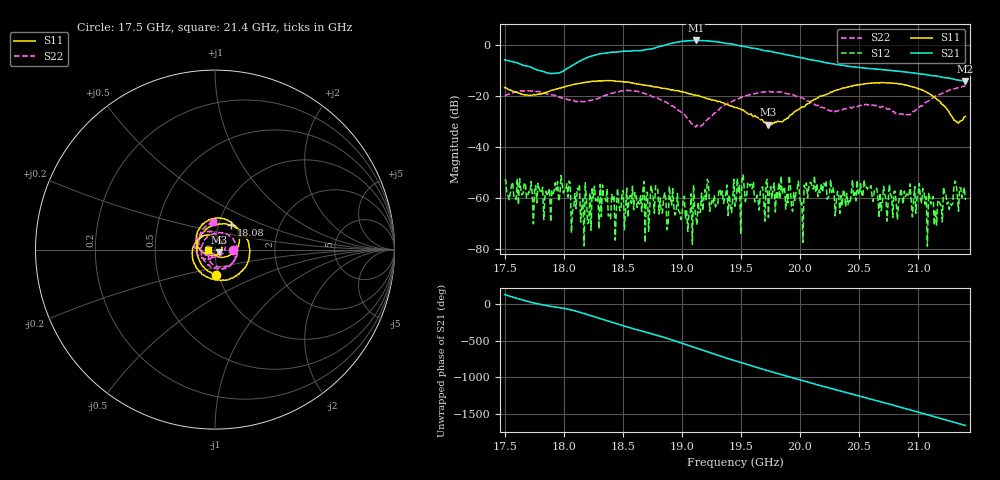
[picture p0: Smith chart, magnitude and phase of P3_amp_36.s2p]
!Created with skrf (http://scikit-rf.org).
# GHz S RI R 50.0
!freq ReS11 ImS11 ReS21 ImS21 ReS12 ImS12 ReS22 ImS22
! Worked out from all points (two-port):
!   401 points, 17.5 GHz to 21.4 GHz, reference 50 ohm
!   highest |S21| = 1.61 dB at 19.12 GHz (marker M1); lowest = -14.4 dB at 21.4 GHz (marker M2)
!   |S21| within 3 dB of the highest: 18.77 GHz to 19.59 GHz (825.2 MHz wide, 4.3 % of centre)
!   lowest |S11| = -31.5 dB at 19.73 GHz (marker M3), VSWR 1.05, Z = 52.2 - j1.65 ohm
!   |S11| at or under -10 dB: start of sweep to end of sweep
!   |S22| runs from -32.4 to -16.2 dB; largest |S21 - S12| = 1.2
!   S11 on the Smith chart (normalised r, x): 17.5 GHz: 0.98, -0.29; 18.08 GHz: 1.15, +0.32; 21.4 GHz: 0.93, -0.00
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17.5  0.00818 -0.1436  -0.3037 0.3988  -0.00174 0.00141  0.0979 0.0005
17.7145  -0.1019 -0.00497  0.3287 0.1635  -0.000192 0.00122  0.0909 -0.0839
18.07525  0.0893 0.1366  0.0255 -0.391  0.00052 0.000219  -0.0743 -0.0313
18.15325  0.1414 0.1052  -0.2588 -0.4253  8.17e-05 0.000625  -0.0739 0.0187
18.30925  0.1939 -0.0131  -0.6187 0.2303  0.00126 -0.00132  0.00481 0.0917
18.475  0.1256 -0.1396  0.1526 0.7103  0.00027 0.000482  0.1159 0.0339
18.64075  -0.00547 -0.1663  0.759 -0.008  0.000506 -0.000555  0.0814 -0.0859
18.8065  -0.1064 -0.0966  0.244 -0.8764  -0.00026 -0.000399  -0.00915 -0.0845
18.99175  -0.1179 0.0214  -1.126 -0.2042  -0.000334 0.000167  -0.0347 -0.0329
19.1185  -0.0714 0.0728  -0.6178 1.033  -0.00034 0.000253  -0.0155 -0.0184
19.20625  -0.0338 0.081  0.3385 1.136  -0.000289 0.000859  -0.0088 -0.0311
19.30375  0.00326 0.0761  1.055 0.4097  -0.000364 0.000598  -0.0191 -0.0475
19.45  0.0345 0.0474  0.5802 -0.809  0.000561 0.000379  -0.0644 -0.0515
19.61575  0.0397 0.00751  -0.5908 -0.5982  0.000621 0.00054  -0.1085 0.00232
19.73275  0.0215 -0.0158  -0.735 0.1327  0.000371 -0.000167  -0.1049 0.0591
19.8985  -0.0163 -0.032  -0.0233 0.6234  -0.000677 -0.000407  -0.0411 0.1004
20.0155  -0.0538 -0.0261  0.4287 0.343  -0.000356 -0.000716  0.000572 0.0904
20.10325  -0.0793 -0.00738  0.4982 -0.00143  -0.000369 -0.00155  0.0157 0.0695
20.47375  -0.0639 0.1445  -0.3391 -0.1247  -0.000533 0.000692  0.0205 0.0555
20.7565  0.0859 0.1543  0.0714 0.3063  0.000372 0.00178  0.0546 -0.0059
21.088  0.1104 -0.00967  0.0747 -0.2421  0.00106 0.000596  -0.0789 0.00271
21.4  -0.039 -0.00188  -0.1584 0.1054  -0.000732 -0.000517  -0.00836 0.1544
